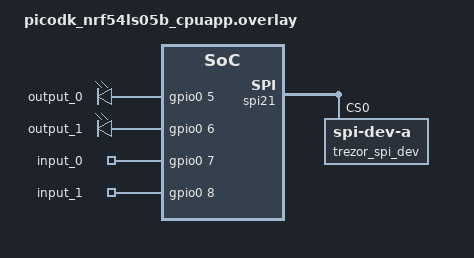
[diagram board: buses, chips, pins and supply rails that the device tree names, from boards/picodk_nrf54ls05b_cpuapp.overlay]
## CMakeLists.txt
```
#
# Copyright (c) 2018 Nordic Semiconductor
#
# SPDX-License-Identifier: LicenseRef-Nordic-5-Clause
#
cmake_minimum_required(VERSION 3.20.0)

find_package(Zephyr REQUIRED HINTS $ENV{ZEPHYR_BASE})
project(NONE)

add_compile_definitions(__BSD_VISIBLE=1)

# NORDIC SDK APP START
target_sources(app PRIVATE
        src/main.c
        src/ble/connection.c
        src/ble/advertising.c
        src/ble/ble_management.c
        src/ble/service.c
        src/ble/bonds.c
        src/ble/pairing.c
        src/ble/ble.c
        src/management/management.c
        src/prodtest/prodtest.c
        src/trz_comm/uart.c
        src/trz_comm/spi.c
        src/trz_comm/trz_comm.c
        src/signals/signals.c
        src/trezor-crypto/hmac.c
        src/trezor-crypto/sha2.c
        src/trezor-crypto/memzero.c
)

if(CONFIG_TRZ_CONSOLE OR CONFIG_TRZ_DEBUG_LINK)
  target_sources(app PRIVATE src/ble/aux_chan.c)
endif()
target_sources_ifdef(CONFIG_TRZ_CONSOLE app PRIVATE src/ble/console.c)
target_sources_ifdef(CONFIG_TRZ_DEBUG_LINK app PRIVATE src/ble/debug.c)

include_directories(src/signals/inc)
include_directories(src/trz_comm/inc)
include_directories(src/ble/inc)
include_directories(src/management/inc)
include_directories(src/prodtest/inc)
include_directories(src/trezor-crypto)

# NORDIC SDK APP END

zephyr_library_include_directories(.)
```

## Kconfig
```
#  * This file is part of the Trezor project, https://trezor.io/
#  *
#  * Copyright (c) SatoshiLabs
#  *
#  * This program is free software: you can redistribute it and/or modify
#  * it under the terms of the GNU General Public License as published by
#  * the Free Software Foundation, either version 3 of the License, or
#  * (at your option) any later version.
#  *
#  * This program is distributed in the hope that it will be useful,
#  * but WITHOUT ANY WARRANTY; without even the implied warranty of
#  * MERCHANTABILITY or FITNESS FOR A PARTICULAR PURPOSE.  See the
#  * GNU General Public License for more details.
#  *
#  * You should have received a copy of the GNU General Public License
#  * along with this program.  If not, see <http://www.gnu.org/licenses/>.

source "Kconfig.zephyr"

menu "Trezor BLE gateway configuration"

config DEFAULT_THREAD_STACK_SIZE
	int "Thread stack size"
	default 1024
	help
	  Common stack size used

config MODEL_IDENTIFIER
    int "Model identifier"

config TRZ_CONSOLE
	bool "BLE console service"
	depends on BT_PERIPHERAL
	select BT_GATT_DYNAMIC_DB
	help
	  Expose a second GATT service that carries an opaque byte console
	  between the STM32 and a bonded host: the prodtest CLI on
	  production-test firmware, debug logs on debug firmware. The bytes are
	  forwarded on their own inter-MCU service id (NRF_SERVICE_CONSOLE) and
	  are not interpreted by the nRF. The service is registered only while
	  the STM32 asks for it (the console flag of the advertising-on command,
	  set by prodtest and debug builds), so production STM32 firmware never
	  exposes it even from an image that carries this option. Leave it off
	  for models whose console stays on USB.

config TRZ_DEBUG_LINK
	bool "BLE debuglink service"
	depends on BT_PERIPHERAL
	select BT_GATT_DYNAMIC_DB
	help
	  Expose a GATT service that carries the debuglink between debug STM32
	  firmware and a bonded host, the counterpart of the USB debug
	  interface on models without USB. Forwarded on its own inter-MCU
	  service id (NRF_SERVICE_DEBUG). Registered only while the STM32 asks
	  for it (the debuglink flag of the advertising-on command, set by
	  --debug-link builds), so a shipping image can carry it; the STM32
	  firmware that enables it is the debug one, which answers debuglink
	  requests from any bonded host.

endmenu
```

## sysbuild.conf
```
# Sysbuild configuration file.

# Enable MCUboot
SB_CONFIG_BOOTLOADER_MCUBOOT=y
SB_CONFIG_MCUBOOT_MODE_SINGLE_APP=y
# Single-slot: app has no secondary slot, no OTA image management
SB_CONFIG_MCUBOOT_APP_SYNC_UPDATEABLE_IMAGES=n

# Use DTS fixed-partitions instead of pm_static.yml
SB_CONFIG_PARTITION_MANAGER=n

# Note: the ed25519 image-hash override (SB_CONFIG_BOOT_IMG_HASH_ALG_SHA512=n)
# lives in the board-scoped overlay sysbuild_nrf54l.conf, because that symbol
# only exists on the nRF54L series (NCS 3.3) and assigning it on nRF52832 /
# NCS 2.9 aborts the build with an "undefined symbol" Kconfig warning.
```

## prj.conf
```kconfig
#
# Copyright (c) 2018 Nordic Semiconductor
#
# SPDX-License-Identifier: LicenseRef-Nordic-5-Clause
#
CONFIG_NCS_APPLICATION_BOOT_BANNER_STRING="Trezor BLE Gateway"

CONFIG_CLOCK_CONTROL=y
CONFIG_CLOCK_CONTROL_NRF_K32SRC_RC=y
CONFIG_CLOCK_CONTROL_NRF_K32SRC_RC_CALIBRATION=y
CONFIG_CLOCK_CONTROL_NRF_K32SRC_500PPM=y
CONFIG_CLOCK_CONTROL_NRF_CALIBRATION_PERIOD=4000

CONFIG_MINIMAL_LIBC=y

# Enable the UART driver
CONFIG_UART_ASYNC_API=y
CONFIG_SERIAL=y

# Enable the SPI driver
CONFIG_SPI=y

CONFIG_GPIO=y



CONFIG_HEAP_MEM_POOL_SIZE=19000

# Enable system-wide Power Management
CONFIG_PM_DEVICE=y
CONFIG_PM_DEVICE_RUNTIME=y
CONFIG_POWEROFF=y

CONFIG_BT=y
CONFIG_BT_PERIPHERAL=y
CONFIG_BT_DEVICE_NAME="Trezor BLE"
CONFIG_BT_DEVICE_NAME_DYNAMIC=y
# The name is set by the firmware only, remote peers cannot change it
CONFIG_BT_DEVICE_NAME_GATT_WRITABLE=n
CONFIG_BT_DEVICE_APPEARANCE=128
CONFIG_BT_COMPANY_ID=0x0F29
CONFIG_BT_MAX_CONN=1
CONFIG_BT_MAX_PAIRED=8
CONFIG_BT_SMP=y
CONFIG_BT_SMP_ENFORCE_MITM=y
CONFIG_BT_SMP_SC_ONLY=y
CONFIG_BT_FILTER_ACCEPT_LIST=y
CONFIG_BT_BONDING_REQUIRED=y
CONFIG_BT_PRIVACY=y
CONFIG_BT_LL_SOFTDEVICE=y
CONFIG_BT_CTLR_TX_PWR_PLUS_4=y
CONFIG_BT_GAP_PERIPHERAL_PREF_PARAMS=y
CONFIG_BT_PERIPHERAL_PREF_MIN_INT=24
CONFIG_BT_PERIPHERAL_PREF_MAX_INT=36
CONFIG_BT_PERIPHERAL_PREF_TIMEOUT=400
CONFIG_BT_CTLR_PHY_2M=y
CONFIG_BT_USER_PHY_UPDATE=y
CONFIG_BT_BAS=y

CONFIG_BT_DIS=y
# Manufacturer/model are board/product-specific AND use different Kconfig symbol
# names across NCS versions (BT_DIS_MANUF/BT_DIS_MODEL on 2.9; the *_NAME_STR/
# *_NUMBER_STR symbols on 3.3). Set them per board in boards/<board>.conf.
CONFIG_BT_DIS_FW_REV=y
CONFIG_BT_DIS_FW_REV_STR="0.0.0.0"
CONFIG_BT_DIS_SW_REV=y
CONFIG_BT_DIS_SW_REV_STR="0.0.0.0"
CONFIG_BT_DIS_PNP=n
CONFIG_BT_DIS_SETTINGS=y
CONFIG_BT_DIS_STR_MAX=21


#PHY update needed for updating PHY request
CONFIG_BT_PHY_UPDATE=y
CONFIG_BT_USER_PHY_UPDATE=y
CONFIG_BT_CTLR_TX_PWR_DYNAMIC_CONTROL=y

# HCI ACL buffers size
CONFIG_BT_BUF_ACL_RX_SIZE=251

# L2CAP SDU/PDU TX MTU
CONFIG_BT_L2CAP_TX_MTU=247


# Enable bonding
CONFIG_BT_SETTINGS=y
CONFIG_FLASH=y
CONFIG_FLASH_PAGE_LAYOUT=y
CONFIG_FLASH_MAP=y
CONFIG_NVS=y
CONFIG_SETTINGS=y
CONFIG_SETTINGS_RUNTIME=y

# This example requires more stack
CONFIG_MAIN_STACK_SIZE=1152
CONFIG_SYSTEM_WORKQUEUE_STACK_SIZE=4096

CONFIG_POLL=y


# Config logger
CONFIG_LOG=n
CONFIG_UART_CONSOLE=n
CONFIG_LOG_BACKEND_UART=n

CONFIG_NANOPB=n


# bootloader
#CONFIG_SECURE_BOOT=y
```

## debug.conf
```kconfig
# Copyright (c) 2021 Nordic Semiconductor ASA
# SPDX-License-Identifier: Apache-2.0
#
# This is a Kconfig fragment which can be used to enable debug-related options
# in the application. See the README for more details.

# compiler
CONFIG_DEBUG_OPTIMIZATIONS=y

# logging
CONFIG_LOG=y
CONFIG_RTT_CONSOLE=y
CONFIG_USE_SEGGER_RTT=y
CONFIG_LOG_BACKEND_RTT=y

# enable console
CONFIG_CONSOLE=y

CONFIG_ASSERT=y


# Thread monitor and debug moninot exception to be able to debug BLE when running
# Applies only to application, not mcuboot.
# VTOR is currently at 0xC200 (mcuboot size + mcuboot_pad size)
CONFIG_THREAD_NAME=y
CONFIG_THREAD_MONITOR=y
CONFIG_CORTEX_M_DEBUG_MONITOR_HOOK=y
CONFIG_SEGGER_DEBUGMON=y
```

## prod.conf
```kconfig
# Copyright (c) 2021 Nordic Semiconductor ASA
# SPDX-License-Identifier: Apache-2.0
#
# This is a Kconfig fragment which can be used to enable debug-related options
# in the application. See the README for more details.

CONFIG_NRF_APPROTECT_LOCK=y

# Declared to the STM; pairs with mcuboot_prod.conf CONFIG_BOOT_PRODUCTION_KEY.
CONFIG_TREZOR_KEY_SET_PRODUCTION=y
```

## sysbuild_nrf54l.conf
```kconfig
# Board-scoped sysbuild overlay for the nRF54L series (NCS 3.3).
#
# The nRF54L series defaults the ed25519 image hash to SHA512; override it to
# SHA256. sysbuild's CMakeLists reads SB_CONFIG_BOOT_IMG_HASH_ALG_SHA512 and
# injects CONFIG_BOOT_IMG_HASH_ALG_SHA512=y into MCUboot, overriding
# sysbuild/mcuboot.conf. Setting it to n here lets CONFIG_BOOT_IMG_HASH_ALG_SHA256=y
# in mcuboot.conf win.
#
# This lives in a board-scoped overlay (not sysbuild.conf) because the symbol
# does not exist on nRF52832 / NCS 2.9 - assigning it there aborts the build
# with an "undefined symbol" Kconfig warning.
SB_CONFIG_BOOT_IMG_HASH_ALG_SHA512=n

# SB_CONFIG_MCUBOOT_HARDWARE_DOWNGRADE_PREVENTION is deliberately not set: NCS's
# provision_hex.cmake fails on a layout without NSIB slots (s0_partition), so
# build_sign_flash.sh generates the provision page with provision.py instead.
```

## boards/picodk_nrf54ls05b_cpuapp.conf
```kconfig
#
# Copyright (c) 2025 Trezor Company s.r.o.
#
# SPDX-License-Identifier: LicenseRef-Nordic-5-Clause
#
# Board-specific Kconfig for the picodk (nRF54LS05B), auto-merged by Zephyr for
# this board only.

# Device Information Service identity. NCS 3.3 (Zephyr 4.x) renamed the DIS
# manufacturer/model options; use the new symbol names here (the deprecated
# BT_DIS_MANUF/BT_DIS_MODEL would emit deprecation warnings on 3.3).
CONFIG_BT_DIS_MANUF_NAME_STR="Trezor Company s.r.o"
# TODO: set to the actual product/model name for this board.
CONFIG_BT_DIS_MODEL_NUMBER_STR="Trezor (picodk)"
```

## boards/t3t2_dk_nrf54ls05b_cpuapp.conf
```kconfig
#
# Copyright (c) 2025 Trezor Company s.r.o.
#
# SPDX-License-Identifier: LicenseRef-Nordic-5-Clause
#
# Board-specific Kconfig for the t3t2_dk (nRF54LS05B) board, auto-merged by
# Zephyr for this board only.

# Device Information Service identity. NCS 3.3 (Zephyr 4.x) renamed the DIS
# manufacturer/model options; use the new symbol names here (the deprecated
# BT_DIS_MANUF/BT_DIS_MODEL would emit deprecation warnings on 3.3).
CONFIG_BT_DIS_MANUF_NAME_STR="Trezor Company s.r.o."
# TODO: set to the actual product/model name for this board.
CONFIG_BT_DIS_MODEL_NUMBER_STR="Trezor T3T2"

# T3T2 has no USB, so the prodtest CLI and debug logs travel over the BLE
# console service, and the debuglink over its own service. The devkit is a
# development board; a shipping T3T2 image must not carry the debuglink.
CONFIG_TRZ_CONSOLE=y
CONFIG_TRZ_DEBUG_LINK=y
```

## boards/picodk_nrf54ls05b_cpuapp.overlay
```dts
/*
 * Copyright (c) 2025 Trezor Company s.r.o.
 *
 * SPDX-License-Identifier: LicenseRef-Nordic-5-Clause
 *
 * trezor-ble application devicetree glue for the picodk (nRF54LS05B) board.
 *
 * This maps the trezor-ble app's required devicetree contract onto the picodk
 * peripherals. The equivalent definitions for the t3w1 board live in its board
 * .dts (boards/arm/t3w1_revA_nrf52832/t3w1_revA_nrf52832.dts) and overlay.
 *
 * The app requires:
 *   - chosen  trezor,trz-uart          UART to the main Trezor SoC
 *   - alias   spi-master               SPIM controller
 *   - label   trezor_spi_dev           SPI device (CS sourced from controller)
 *   - aliases spi-ready / spi-request  SPI handshake GPIOs
 *   - aliases stay-in-bootloader / reserved-output  control GPIOs
 *
 * The UART/SPI instances reuse what the picodk board already enables (uart20,
 * spi21). The four handshake/control GPIOs below use PLACEHOLDER pins.
 *
 *  >>> TODO: set output_0/output_1/input_0/input_1 to the ACTUAL pins wired
 *  >>> between the picodk and the Trezor main SoC. Wrong pins build fine but
 *  >>> break SPI handshaking and bootloader entry at runtime.
 */

/ {
	chosen {
		/* Shares uart20 with the console, as t3w1 shares uart0. */
		trezor,trz-uart = &uart20;
	};

	outputs {
		compatible = "gpio-leds";
		output_0: output_0 {
			gpios = <&gpio0 5 GPIO_ACTIVE_HIGH>;   /* TODO: real pin (reserved-output) */
		};
		output_1: output_1 {
			gpios = <&gpio0 6 GPIO_ACTIVE_HIGH>;   /* TODO: real pin (spi-request) */
		};
	};

	inputs {
		compatible = "gpio-keys";
		input_0: input_0 {
			gpios = <&gpio0 7 (GPIO_PULL_DOWN | GPIO_ACTIVE_HIGH)>;  /* TODO: real pin (stay-in-bootloader) */
		};
		input_1: input_1 {
			gpios = <&gpio0 8 (GPIO_PULL_DOWN | GPIO_ACTIVE_HIGH)>;  /* TODO: real pin (spi-ready) */
		};
	};

	aliases {
		spi-master = &spi21;
		spi-ready = &input_1;
		spi-request = &output_1;
		stay-in-bootloader = &input_0;
		reserved-output = &output_0;
	};
};

/* Add the trezor_spi_dev label the app looks up via DT_NODELABEL(). The picodk
 * board already declares this node as reg_my_spi_master under &spi21; this adds
 * the second label the shared code expects. */
&spi21 {
	trezor_spi_dev: spi-dev-a@0 {
		reg = <0>;
	};
};
```

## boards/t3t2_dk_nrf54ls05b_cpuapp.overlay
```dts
/*
 * Copyright (c) 2025 Trezor Company s.r.o.
 *
 * SPDX-License-Identifier: LicenseRef-Nordic-5-Clause
 *
 * trezor-ble application devicetree glue for the t3t2_dk board.
 *
 * The UART link, SPI master (incl. trezor_spi_dev / CS) and the GPIO
 * handshake signals (spi-ready, spi-request, stay-in-bootloader,
 * reserved-output) are defined at board level in
 * boards/arm/t3t2_dk/, so they are shared with the MCUboot
 * image. This overlay only binds the app's logical contract to them, the
 * same way the t3w1 app overlay does.
 */

/ {
	chosen {
		/* Shares uart20 with the console, as t3w1 shares uart0. */
		trezor,trz-uart = &uart20;
	};

	aliases {
		spi-master = &spi21;
	};
};
```

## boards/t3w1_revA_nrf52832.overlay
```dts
/*
 * Copyright (c) 2022 Nordic Semiconductor ASA
 *
 * SPDX-License-Identifier: LicenseRef-Nordic-5-Clause
 */
/ {
	chosen {
		trezor,trz-uart = &uart0;
	};

	aliases {
		spi-master = &spi0;
	};
};
```

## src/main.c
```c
/*
 * This file is part of the Trezor project, https://trezor.io/
 *
 * Copyright (c) SatoshiLabs
 *
 * This program is free software: you can redistribute it and/or modify
 * it under the terms of the GNU General Public License as published by
 * the Free Software Foundation, either version 3 of the License, or
 * (at your option) any later version.
 *
 * This program is distributed in the hope that it will be useful,
 * but WITHOUT ANY WARRANTY; without even the implied warranty of
 * MERCHANTABILITY or FITNESS FOR A PARTICULAR PURPOSE.  See the
 * GNU General Public License for more details.
 *
 * You should have received a copy of the GNU General Public License
 * along with this program.  If not, see <http://www.gnu.org/licenses/>.
 */

#include <zephyr/drivers/gpio.h>
#include <zephyr/drivers/uart.h>
#include <zephyr/kernel.h>
#include <zephyr/types.h>

#include <soc.h>
#include <zephyr/device.h>
#include <zephyr/devicetree.h>

#include <zephyr/bluetooth/bluetooth.h>
#include <zephyr/bluetooth/conn.h>
#include <zephyr/bluetooth/gatt.h>
#include <zephyr/bluetooth/hci.h>
#include <zephyr/bluetooth/uuid.h>

#include <zephyr/settings/settings.h>

#include <zephyr/logging/log.h>

#include <ble/ble.h>
#include <management/management.h>
#include <prodtest/prodtest.h>
#include <signals/signals.h>
#include <trz_comm/trz_comm.h>

#define LOG_MODULE_NAME main
LOG_MODULE_REGISTER(LOG_MODULE_NAME);

int main(void) {
  LOG_INF("Initializing");

  signals_init();

  trz_comm_init();

  ble_init();

  management_init();

  prodtest_init();

  for (;;) {
    k_sleep(K_FOREVER);
  }
}
```
